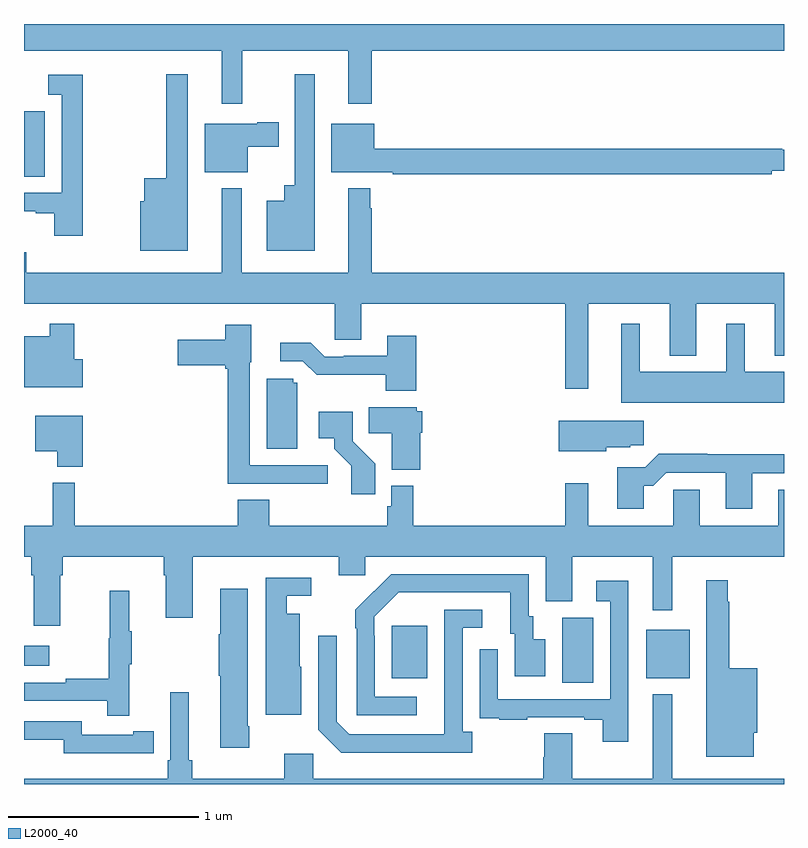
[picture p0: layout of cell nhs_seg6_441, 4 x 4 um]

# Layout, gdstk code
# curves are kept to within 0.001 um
import gdstk
lib = gdstk.Library(unit=1e-6, precision=1e-09)
def R(c, l, rs):  # rectangles x0, y0, x1, y1
    for r in rs: c.add(gdstk.rectangle(r[:2], r[2:], *l))
def P(c, l, *ps):  # polygons
    for p in ps: c.add(gdstk.Polygon(p, *l))
L2000_40 = (2000, 40)

nhs_seg6_441 = lib.new_cell('nhs_seg6_441')
R(nhs_seg6_441, L2000_40, [(139.832,920.032,139.996,920.376), (138.935,920.057,139.123,920.332), (140.276,920.057,140.503,920.311), (137,920.123,137.134,920.227), (137,922.696,137.11,923.04)])
P(nhs_seg6_441, L2000_40, [(138.148,923.36),(138.707,923.36),(138.707,923.079),(138.829,923.079),(138.829,923.36),(141,923.36),(141,923.5),(137,923.5),(137,923.36),(138.041,923.36),(138.041,923.079),(138.148,923.079)],
  [(138.529,923.236),(138.425,923.236),(138.425,922.651),(138.371,922.651),(138.371,922.57),(138.278,922.57),(138.278,922.307),(138.529,922.307)],
  [(137.863,923.236),(137.749,923.236),(137.749,922.687),(137.633,922.687),(137.633,922.566),(137.612,922.566),(137.612,922.307),(137.863,922.307)],
  [(137.308,923.233),(137.127,923.233),(137.127,923.127),(137.199,923.127),(137.199,922.611),(137,922.611),(137,922.515),(137.063,922.515),(137.063,922.503),(137.159,922.503),(137.159,922.386),(137.308,922.386)],
  [(138.178,922.853),(138.34,922.853),(138.34,922.983),(138.227,922.983),(138.227,922.975),(137.951,922.975),(137.951,922.721),(138.178,922.721)],
  [(140.936,922.727),(141,922.727),(141,922.837),(140.992,922.837),(140.992,922.844),(138.844,922.844),(138.844,922.975),(138.617,922.975),(138.617,922.721),(138.94,922.721),(138.94,922.708),(140.936,922.708)],
  [(139.969,922.028),(140.399,922.028),(140.399,921.755),(140.539,921.755),(140.539,922.028),(140.951,922.028),(140.951,921.755),(141,921.755),(141,922.192),(138.829,922.192),(138.829,922.529),(138.822,922.529),(138.822,922.636),(138.707,922.636),(138.707,922.192),(138.145,922.192),(138.145,922.636),(138.041,922.636),(138.041,922.192),(137.012,922.192),(137.012,922.298),(137,922.298),(137,922.028),(138.636,922.028),(138.636,921.838),(138.775,921.838),(138.775,922.028),(139.848,922.028),(139.848,921.579),(139.969,921.579)],
  [(137.308,921.735),(137.264,921.735),(137.264,921.922),(137.136,921.922),(137.136,921.856),(137,921.856),(137,921.587),(137.308,921.587)],
  [(141,921.67),(140.794,921.67),(140.794,921.922),(140.696,921.922),(140.696,921.67),(140.242,921.67),(140.242,921.922),(140.144,921.922),(140.144,921.506),(141,921.506)],
  [(138.598,921.177),(138.189,921.177),(138.189,921.72),(138.196,921.72),(138.196,921.916),(138.06,921.916),(138.06,921.838),(137.808,921.838),(137.808,921.704),(138.06,921.704),(138.06,921.686),(138.073,921.686),(138.073,921.081),(138.373,921.081),(138.373,921.079),(138.598,921.079)],
  [(139.064,921.859),(138.911,921.859),(138.911,921.753),(138.682,921.753),(138.682,921.75),(138.582,921.75),(138.509,921.823),(138.348,921.823),(138.348,921.726),(138.468,921.726),(138.541,921.653),(138.904,921.654),(138.904,921.569),(139.064,921.569)],
  [(138.439,921.612),(138.417,921.612),(138.417,921.633),(138.278,921.633),(138.278,921.264),(138.439,921.264)],
  [(139.085,921.348),(139.097,921.348),(139.097,921.462),(139.068,921.462),(139.068,921.484),(138.814,921.484),(138.814,921.346),(138.935,921.346),(138.935,921.155),(139.085,921.155)],
  [(138.848,921.186),(138.729,921.305),(138.729,921.46),(138.552,921.46),(138.552,921.32),(138.632,921.32),(138.632,921.265),(138.723,921.175),(138.723,921.024),(138.848,921.024)],
  [(137.309,921.439),(137.06,921.439),(137.06,921.251),(137.174,921.251),(137.174,921.17),(137.309,921.17)],
  [(140.064,921.272),(140.19,921.272),(140.19,921.283),(140.263,921.283),(140.263,921.412),(139.814,921.412),(139.814,921.251),(140.064,921.251)],
  [(140.263,921.071),(140.312,921.071),(140.379,921.138),(140.693,921.138),(140.693,920.949),(140.833,920.949),(140.833,921.135),(141,921.135),(141,921.236),(140.597,921.236),(140.597,921.239),(140.342,921.239),(140.271,921.168),(140.123,921.168),(140.123,920.949),(140.263,920.949)],
  [(137.735,920.6),(137.747,920.6),(137.747,920.376),(137.887,920.376),(137.887,920.696),(138.656,920.696),(138.656,920.598),(138.795,920.598),(138.795,920.696),(139.745,920.696),(139.745,920.461),(139.885,920.461),(139.885,920.696),(140.309,920.696),(140.309,920.415),(140.413,920.415),(140.413,920.696),(141,920.696),(141,921.05),(140.969,921.05),(140.969,920.86),(140.557,920.86),(140.557,921.05),(140.418,921.05),(140.418,920.86),(139.969,920.86),(139.969,921.082),(139.848,921.082),(139.848,920.86),(139.049,920.86),(139.049,921.07),(138.933,921.07),(138.933,920.961),(138.913,920.961),(138.913,920.86),(138.29,920.86),(138.29,920.996),(138.125,920.996),(138.125,920.86),(137.267,920.86),(137.267,921.085),(137.15,921.085),(137.15,920.86),(137,920.86),(137,920.696),(137.039,920.696),(137.039,920.6),(137.051,920.6),(137.051,920.334),(137.191,920.334),(137.191,920.6),(137.204,920.6),(137.204,920.696),(137.735,920.696)],
  [(139.066,919.959),(138.846,919.959),(138.846,920.279),(138.843,920.279),(138.843,920.379),(138.972,920.508),(139.559,920.508),(139.559,920.292),(139.583,920.292),(139.583,920.067),(139.744,920.067),(139.744,920.263),(139.681,920.263),(139.681,920.382),(139.656,920.382),(139.656,920.604),(138.932,920.604),(138.841,920.513),(138.84,920.514),(138.743,920.416),(138.743,920.321),(138.75,920.321),(138.75,919.863),(139.066,919.863)],
  [(138.46,920.118),(138.451,920.118),(138.451,920.395),(138.382,920.395),(138.382,920.49),(138.511,920.49),(138.511,920.586),(138.273,920.586),(138.273,920.291),(138.272,920.291),(138.272,919.865),(138.46,919.865)],
  [(140.842,919.77),(140.86,919.77),(140.86,920.11),(140.713,920.11),(140.713,920.459),(140.705,920.459),(140.705,920.572),(140.591,920.572),(140.591,919.643),(140.842,919.643)],
  [(140.181,920.569),(140.013,920.569),(140.013,920.463),(140.085,920.463),(140.085,919.947),(139.494,919.947),(139.494,920.209),(139.398,920.209),(139.398,919.954),(139.399,919.954),(139.399,919.845),(139.501,919.845),(139.501,919.839),(139.649,919.839),(139.649,919.851),(139.949,919.851),(139.949,919.839),(140.045,919.839),(140.045,919.722),(140.181,919.722)],
  [(138.186,919.804),(138.178,919.804),(138.178,920.527),(138.032,920.527),(138.032,920.288),(138.025,920.288),(138.025,920.071),(138.032,920.071),(138.032,919.692),(138.186,919.692)],
  [(137.555,920.131),(137.566,920.131),(137.566,920.305),(137.555,920.305),(137.555,920.518),(137.452,920.518),(137.452,920.268),(137.445,920.268),(137.445,920.054),(137.221,920.054),(137.221,920.034),(137,920.034),(137,919.938),(137.437,919.938),(137.437,919.86),(137.555,919.86)],
  [(139.36,919.774),(139.308,919.774),(139.308,920.322),(139.411,920.322),(139.411,920.418),(139.212,920.418),(139.211,919.761),(138.711,919.761),(138.645,919.827),(138.645,920.281),(138.549,920.281),(138.549,919.785),(138.67,919.664),(139.36,919.664)],
  [(141,919.528),(140.413,919.528),(140.413,919.972),(140.309,919.972),(140.309,919.528),(139.885,919.528),(139.885,919.766),(139.738,919.766),(139.738,919.641),(139.733,919.641),(139.733,919.528),(138.522,919.528),(138.522,919.66),(138.371,919.66),(138.371,919.528),(137.885,919.528),(137.885,919.624),(137.866,919.624),(137.866,919.984),(137.769,919.984),(137.769,919.624),(137.756,919.624),(137.756,919.528),(137,919.528),(137,919.5),(141,919.5)],
  [(137.576,919.662),(137.684,919.662),(137.684,919.778),(137.576,919.778),(137.576,919.758),(137.304,919.758),(137.304,919.83),(137,919.83),(137,919.734),(137.208,919.734),(137.208,919.661),(137.576,919.661)])

lib.write_gds('nhs_seg6_441.gds')
